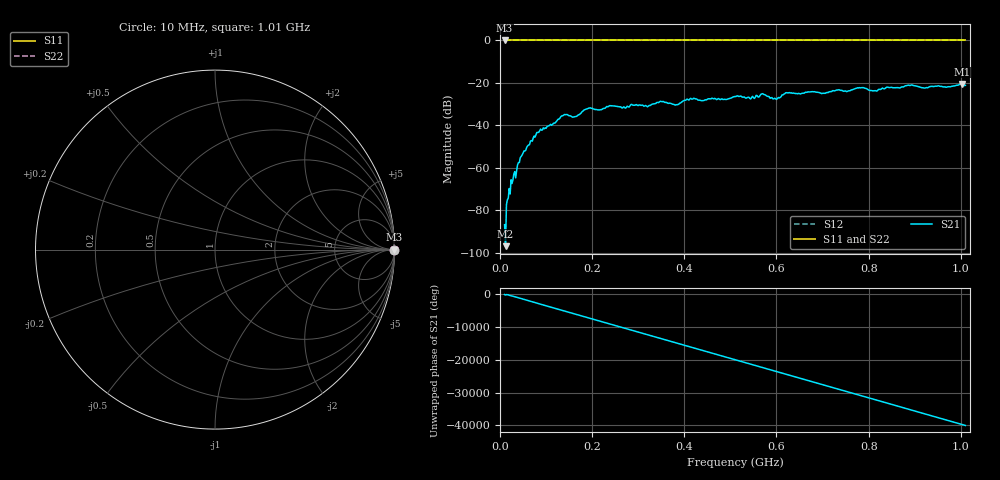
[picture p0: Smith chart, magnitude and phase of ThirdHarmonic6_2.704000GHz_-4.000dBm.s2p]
! 8/17/2025 6:29:28 AM
! C:\ANRITSUVNA\TEMP\TEMP.S2P
! CHANNEL.1
! TR.MEASUREMENT
! RAW.DATA
! RF.CORRECTION.OFF
! AVERAGING.OFF
! IF.BANDWIDTH: 5KHZ
! SWEEPTYPE:  FREQ.SWEEP(Linear)
! Reference Plane Port Info
! PORT:  PORT1  PORT2
! DISTANCE:  0  m  0  m
! TIME:  0  s  0  s
! PHASE.OFFSET:  0  deg.  0  deg.
! LOSS:  0  dB  0  dB
! REF.LOSS:  0  dB  0  dB
! REF.FREQ:  0  Hz  0  Hz
! Power Info
! POWER:  -20  dBm  -20  dBm
! EFF.POWER:  -20  dBm  -20  dBm
! SOURCE.ATTEN:  0  dB  0  dB
! TEST.ATTEN:  0  dB  0  dB
# GHZ S RI R 50.0
! FREQ.GHZ  S11RE  S11IM  S21RE  S21IM  S12RE  S12IM  S22RE  S22IM
!; PortSelection: Port_12
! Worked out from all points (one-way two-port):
!   501 points, 10 MHz to 1.01 GHz, reference 50 ohm
!   highest |S21| = -20.57 dB at 1.002 GHz (marker M1); lowest = -97.0 dB at 12 MHz (marker M2)
!   lowest |S11| = 0.0 dB at 10 MHz (marker M3)
!   |S11| at or under -10 dB: nowhere
!   |S22| runs from 0.0 to 0.0 dB; largest |S21 - S12| = 1.1
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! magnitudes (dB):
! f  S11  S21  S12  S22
! 10 MHz  0.0  -86.9  0.0  0.0
! 12 MHz  0.0  -97.0  0.0  0.0
! 28 MHz  0.0  -65.8  0.0  0.0
! 42 MHz  0.0  -57.5  0.0  0.0
! 76 MHz  0.0  -45.6  0.0  0.0
! 136 MHz  0.0  -35.5  0.0  0.0
! 162 MHz  0.0  -36.0  0.0  0.0
! 178 MHz  0.0  -33.6  0.0  0.0
! 192 MHz  0.0  -31.9  0.0  0.0
! 322 MHz  0.0  -30.9  0.0  0.0
! 344 MHz  0.0  -29.3  0.0  0.0
! 384 MHz  0.0  -30.3  0.0  0.0
! 416 MHz  0.0  -27.6  0.0  0.0
! 510 MHz  0.0  -26.4  0.0  0.0
! 548 MHz  0.0  -26.3  0.0  0.0
! 570 MHz  0.0  -25.1  0.0  0.0
! 596 MHz  0.0  -27.3  0.0  0.0
! 624 MHz  0.0  -24.7  0.0  0.0
! 678 MHz  0.0  -24.1  0.0  0.0
! 844 MHz  0.0  -22.2  0.0  0.0
! 1.002 GHz  0.0  -20.6  0.0  0.0
! 1.01 GHz  0.0  -21.2  0.0  0.0
